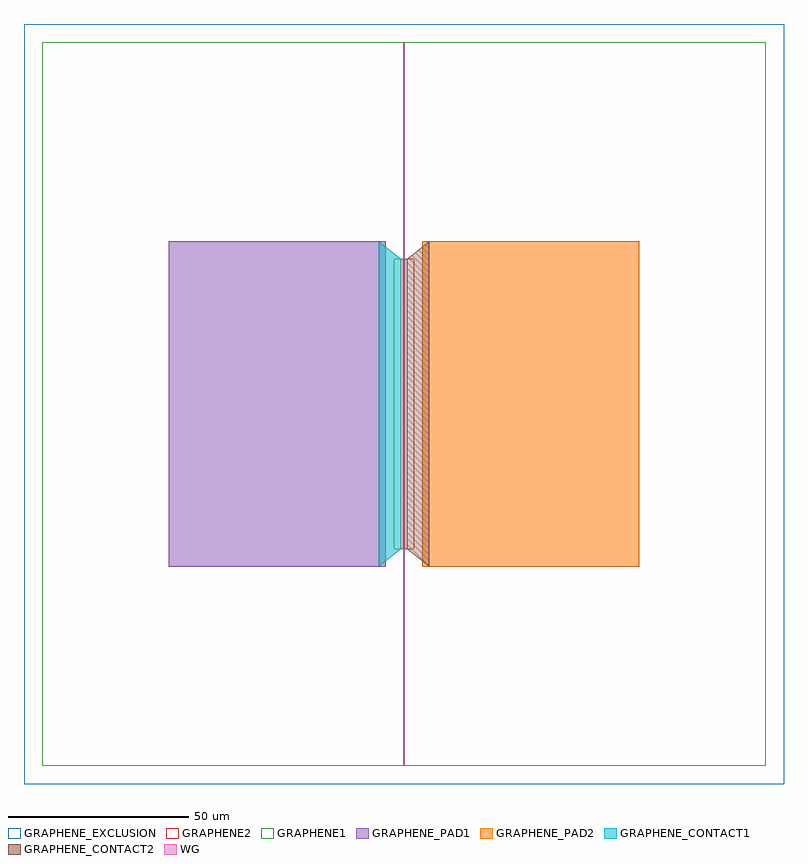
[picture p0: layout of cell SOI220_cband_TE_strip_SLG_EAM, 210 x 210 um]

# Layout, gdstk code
import gdstk
lib = gdstk.Library(unit=1e-6, precision=1e-09)
def R(c, l, rs):  # rectangles x0, y0, x1, y1
    for r in rs: c.add(gdstk.rectangle(r[:2], r[2:], *l))
def P(c, l, *ps):  # polygons
    for p in ps: c.add(gdstk.Polygon(p, *l))
WG = (3, 0)
GRAPHENE1 = (161, 2)
GRAPHENE2 = (162, 2)
GRAPHENE_CONTACT1 = (163, 2)
GRAPHENE_CONTACT2 = (164, 2)
GRAPHENE_PAD1 = (165, 2)
GRAPHENE_PAD2 = (166, 2)
GRAPHENE_EXCLUSION = (169, 1)

soi220_cband_te_strip_sl = lib.new_cell('SOI220_cband_TE_strip_SLG_EAM')
R(soi220_cband_te_strip_sl, WG, [(-0.225,-100,0.225,100)])
P(soi220_cband_te_strip_sl, GRAPHENE1, [(-100,-100),(-100,40),(-2.75,40),(-2.75,-40),(0.275,-40),(0.275,40),(-100,40),(-100,100),(100,100),(100,-100)])
P(soi220_cband_te_strip_sl, GRAPHENE2, [(-100,-100),(-100,40),(-0.275,40),(-0.275,-40),(2.75,-40),(2.75,40),(-100,40),(-100,100),(100,100),(100,-100)])
P(soi220_cband_te_strip_sl, GRAPHENE_CONTACT1, [(-7,-45),(-7,45),(-0.75,40),(-0.75,-40)])
P(soi220_cband_te_strip_sl, GRAPHENE_CONTACT2, [(7,-45),(0.75,-40),(0.75,40),(7,45)])
R(soi220_cband_te_strip_sl, GRAPHENE_PAD1, [(-65,-45,-5,45)])
R(soi220_cband_te_strip_sl, GRAPHENE_PAD2, [(5,-45,65,45)])
R(soi220_cband_te_strip_sl, GRAPHENE_EXCLUSION, [(-105,-105,105,105)])

lib.write_gds('SOI220_cband_TE_strip_SLG_EAM.gds')
